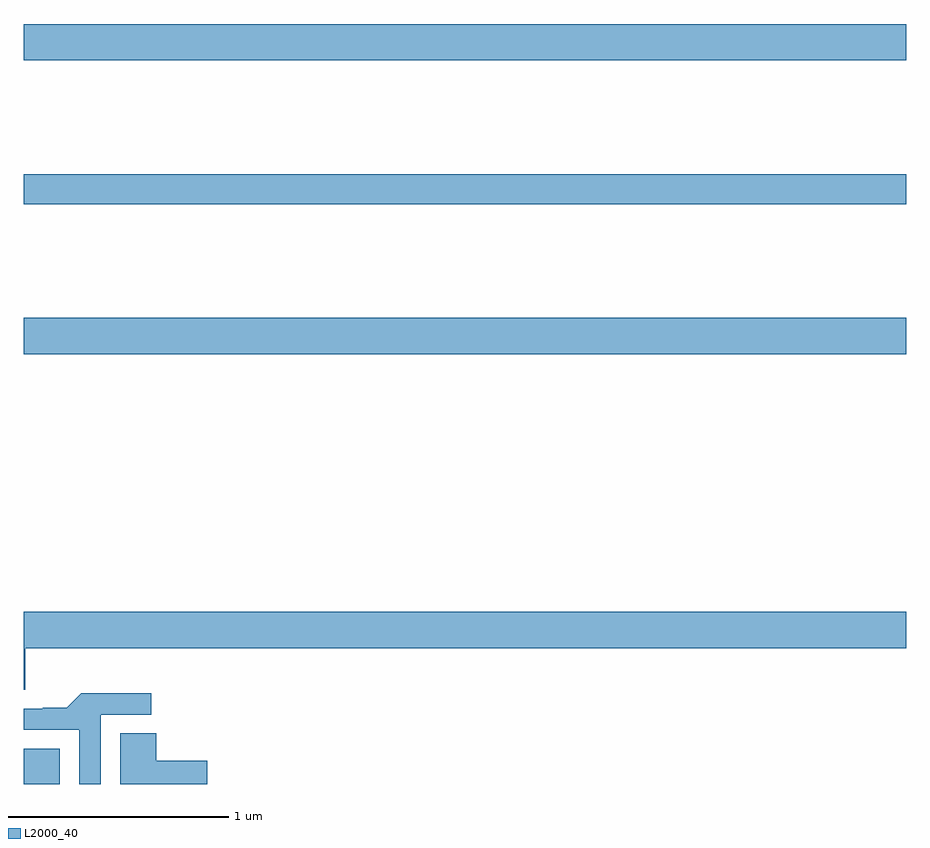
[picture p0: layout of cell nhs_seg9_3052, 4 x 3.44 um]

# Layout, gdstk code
import gdstk
lib = gdstk.Library(unit=1e-6, precision=1e-09)
def R(c, l, rs):  # rectangles x0, y0, x1, y1
    for r in rs: c.add(gdstk.rectangle(r[:2], r[2:], *l))
def P(c, l, *ps):  # polygons
    for p in ps: c.add(gdstk.Polygon(p, *l))
L2000_40 = (2000, 40)

nhs_seg9_3052 = lib.new_cell('nhs_seg9_3052')
R(nhs_seg9_3052, L2000_40, [(287,1166.5,287.164,1166.66), (287,1168.448,291,1168.612), (287,1169.128,291,1169.264), (287,1169.78,291,1169.944)])
P(nhs_seg9_3052, L2000_40, [(287.008,1167.116),(291,1167.116),(291,1167.28),(287,1167.28),(287,1166.926),(287.008,1166.926)],
  [(287.349,1166.814),(287.578,1166.814),(287.578,1166.912),(287.261,1166.912),(287.195,1166.846),(287.087,1166.846),(287.087,1166.841),(287,1166.841),(287,1166.745),(287.253,1166.745),(287.253,1166.5),(287.349,1166.5)],
  [(287.833,1166.606),(287.6,1166.606),(287.6,1166.729),(287.438,1166.729),(287.438,1166.5),(287.833,1166.5)])

lib.write_gds('nhs_seg9_3052.gds')
